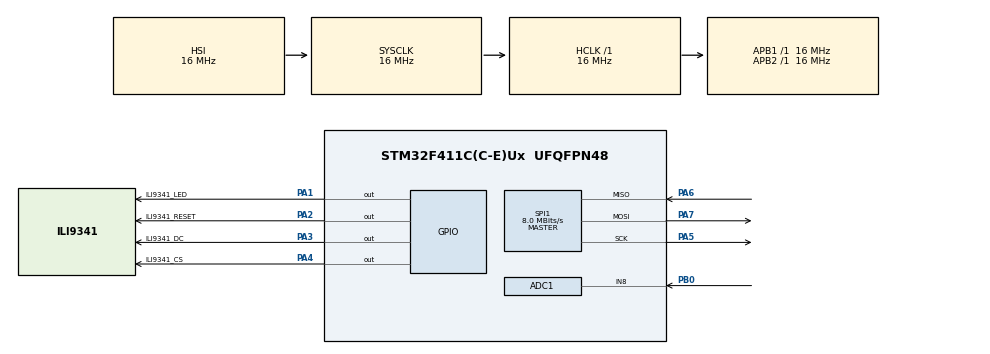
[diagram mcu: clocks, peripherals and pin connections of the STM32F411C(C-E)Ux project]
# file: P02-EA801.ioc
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ADC1.Channel-0\#ChannelRegularConversion=ADC_CHANNEL_8
ADC1.DMAContinuousRequests=ENABLE
ADC1.EnableAnalogWatchDog=false
ADC1.ExternalTrigConv=ADC_EXTERNALTRIGCONV_T2_TRGO
ADC1.InjNumberOfConversion=0
ADC1.NbrOfConversionFlag=1
ADC1.Rank-0\#ChannelRegularConversion=1
ADC1.SamplingTime-0\#ChannelRegularConversion=ADC_SAMPLETIME_3CYCLES
ADC1.master=1
Dma.ADC1.0.Direction=DMA_PERIPH_TO_MEMORY
Dma.ADC1.0.FIFOMode=DMA_FIFOMODE_DISABLE
Dma.ADC1.0.Instance=DMA2_Stream0
Dma.ADC1.0.MemDataAlignment=DMA_MDATAALIGN_HALFWORD
Dma.ADC1.0.MemInc=DMA_MINC_ENABLE
Dma.ADC1.0.Mode=DMA_CIRCULAR
Dma.ADC1.0.PeriphDataAlignment=DMA_PDATAALIGN_HALFWORD
Dma.ADC1.0.PeriphInc=DMA_PINC_DISABLE
Dma.ADC1.0.Priority=DMA_PRIORITY_VERY_HIGH
Dma.Request0=ADC1
Mcu.Family=STM32F4
Mcu.Name=STM32F411C(C-E)Ux
Mcu.Package=UFQFPN48
NVIC.ADC_IRQn=true\:0\:0\:false\:false\:true\:true\:true\:true
NVIC.DMA2_Stream0_IRQn=true\:0\:0\:false\:false\:true\:false\:true\:true
NVIC.PriorityGroup=NVIC_PRIORITYGROUP_4
PA1.GPIO_Label=ILI9341_LED
PA1.PinState=GPIO_PIN_SET
PA1.Signal=GPIO_Output
PA2.GPIO_Label=ILI9341_RESET
PA2.GPIO_Speed=GPIO_SPEED_FREQ_VERY_HIGH
PA2.Signal=GPIO_Output
PA3.GPIO_Label=ILI9341_DC
PA3.GPIO_Speed=GPIO_SPEED_FREQ_VERY_HIGH
PA3.Signal=GPIO_Output
PA4.GPIO_Label=ILI9341_CS
PA4.GPIO_Speed=GPIO_SPEED_FREQ_VERY_HIGH
PA4.Signal=GPIO_Output
PA5.Mode=Full_Duplex_Master
PA5.Signal=SPI1_SCK
PA6.Mode=Full_Duplex_Master
PA6.Signal=SPI1_MISO
PA7.Mode=Full_Duplex_Master
PA7.Signal=SPI1_MOSI
PB0.Signal=ADCx_IN8
ProjectManager.HeapSize=0x200
ProjectManager.StackSize=0x400
ProjectManager.TargetToolchain=STM32CubeIDE
RCC.AHBFreq_Value=16000000
RCC.APB1Freq_Value=16000000
RCC.APB2Freq_Value=16000000
RCC.CortexFreq_Value=16000000
RCC.HSE_VALUE=25000000
RCC.HSI_VALUE=16000000
RCC.LSE_VALUE=32768
RCC.SYSCLKFreq_VALUE=16000000
RCC.VCOOutputFreq_Value=192000000
SH.ADCx_IN8.0=ADC1_IN8,IN8
SPI1.CalculateBaudRate=8.0 MBits/s
SPI1.Direction=SPI_DIRECTION_2LINES
SPI1.Mode=SPI_MODE_MASTER
SPI1.VirtualType=VM_MASTER
TIM2.Period=9
TIM2.Prescaler=1599
TIM2.TIM_MasterOutputTrigger=TIM_TRGO_UPDATE
VP_TIM2_VS_ClockSourceINT.Mode=Internal
VP_TIM2_VS_ClockSourceITR.Mode=TriggerSource_ITR0
board=custom

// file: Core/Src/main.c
/* USER CODE BEGIN Header */
/**
  ******************************************************************************
  * @file           : main.c
  * @brief          : Main program body
  ******************************************************************************
  * @attention
  *
  * Copyright (c) 2025 STMicroelectronics.
  * All rights reserved.
  *
  * This software is licensed under terms that can be found in the LICENSE file
  * in the root directory of this software component.
  * If no LICENSE file comes with this software, it is provided AS-IS.
  *
  ******************************************************************************
  */
/* USER CODE END Header */
#include "main.h"

/* USER CODE BEGIN Includes */
#include "fonts.h"
#include <stdio.h>
#include "ili9341.h"
#include <string.h>

#include "fft.h"
#include "guitar_tuner.h"
#include "unit_vec.h"
#include "guitar_tuner_bitmap.h"
#include "arrow_bitmaps.h"
#include "tunings.h"

//typedef enum {E, A, D, G, B, e} guitar_string;

//float ideal_frequencies[] = {82.0312*2, 109.375*3, 148.437, 195.312, 246.093, 328.125 };
//float thresh[6] = {0.5, 0.7, 0.9, 1.0, 1.2, 1.2};

/* USER CODE END Includes */

ADC_HandleTypeDef hadc1;
DMA_HandleTypeDef hdma_adc1;

SPI_HandleTypeDef hspi1;

TIM_HandleTypeDef htim2;

/* USER CODE BEGIN PV */
ILI9341TypeDef display;

/* USER CODE END PV */

void SystemClock_Config(void);
static void MX_GPIO_Init(void);
static void MX_DMA_Init(void);
static void MX_SPI1_Init(void);
static void MX_ADC1_Init(void);
static void MX_TIM2_Init(void);
/* USER CODE BEGIN PFP */
static void drawAxis(ILI9341TypeDef *display);
static void clearCursor(ILI9341TypeDef *display, uint16_t pos);
static void clearTrigger(ILI9341TypeDef *display, uint16_t pos);
static void drawCursor(ILI9341TypeDef *display, uint16_t pos, char *name, uint16_t color);
static void drawTrigger(ILI9341TypeDef *display, uint16_t pos, char *name, uint16_t color);
static void drawSignal(ILI9341TypeDef *display, uint32_t *adc_time, uint16_t *adc0, uint32_t adc_length, uint16_t pixel_dirty[280][2], uint16_t cursor, uint16_t color);
static void clearSignal(ILI9341TypeDef *display, uint16_t pixel_dirty[280][2]);
static void drawSignalParam(ILI9341TypeDef *display, char *string, size_t size, uint16_t adc_max, uint16_t adc_min, uint32_t adc_period);
/* USER CODE END PFP */

/* USER CODE BEGIN 0 */

//ADC buf init
	#define ADC_BUFFER_SIZE 256
	uint16_t adc_buffer[ADC_BUFFER_SIZE];

	volatile uint16_t adc_data[3] = { 0 };
	volatile uint32_t adc0_length = 0;
	volatile uint32_t adc1_length = 0;
	volatile uint8_t  adc0_filled = 0;
	volatile uint8_t  adc1_filled = 1;
	volatile uint8_t  adc_available = 1;
	volatile uint8_t  adc_reset_cyccnt = 1;

	volatile uint16_t adc_max[2]    = {  0 };
	volatile uint16_t adc_min[2]    = { -1 };
	volatile uint32_t adc_period[2] = {  0 };
	volatile uint8_t  adc_period0_detected = 0;
	volatile uint8_t  adc_period1_detected = 0;

	uint32_t adc0_time[ADC_BUFFER_SIZE];
	uint32_t adc1_time[ADC_BUFFER_SIZE];
	uint16_t adc0[ADC_BUFFER_SIZE];
	uint16_t adc1[ADC_BUFFER_SIZE];
	uint8_t  adc_immediate = 1;

	uint32_t xlim_us = 200;
	uint32_t ylim_uV = 1000000;

	uint16_t cursor0 = 120;
	uint16_t cursor1 = 196;

	uint16_t trigger0 = 70;
	uint16_t trigger1 = 146;

	uint8_t  trigger_mode   = 0;
	uint16_t trigger0_value = 2048;
	uint16_t trigger1_value = 2048;

	uint8_t event_adc      = 0;
	uint8_t event_axis     = 1;
	uint8_t event_mode     = 1;
	uint8_t event_cursor   = 1;
	uint8_t event_trigger  = 1;
	uint8_t event_channel  = 1;
	uint8_t event_seconds  = 1;
	uint8_t event_voltage  = 1;
	uint8_t event_button0  = 0;
	uint8_t event_button1  = 0;
	uint8_t event_button2  = 0;
	uint8_t event_selector = 1;
	uint8_t event_trigger_mode = 1;
	uint8_t event_trigger0_detected = 1;
	uint8_t event_trigger1_detected = 1;

/* USER CODE END 0 */

int main(void)
{

  /* MCU Configuration--------------------------------------------------------*/

  /* Reset of all peripherals, Initializes the Flash interface and the Systick. */
  HAL_Init();

  /* Configure the system clock */
  SystemClock_Config();

  /* Initialize all configured peripherals */
  MX_GPIO_Init();
  MX_DMA_Init();
  MX_SPI1_Init();
  MX_ADC1_Init();
  MX_TIM2_Init();
  /* USER CODE BEGIN 2 */
  // Display init
  display.spi             = &hspi1;
  display.cs_gpio_port    = ILI9341_CS_GPIO_Port;
  display.dc_gpio_port    = ILI9341_DC_GPIO_Port;
  display.reset_gpio_port = ILI9341_RESET_GPIO_Port;
  display.cs_pin          = ILI9341_CS_Pin;
  display.dc_pin          = ILI9341_DC_Pin;
  display.reset_pin       = ILI9341_RESET_Pin;
  display.width           = 320;
  display.height          = 240;
  display.orientation     = ILI9341_ORIENTATION_ROTATE_RIGHT;

   ILI9341_UNSELECT(&display);
   ILI9341_Init(&display);
   char string[255];

   ILI9341_FillScreen(&display, ILI9341_BLUE);
   snprintf(string, 255, "Guitar Tuner");
   ILI9341_WriteString(&display, 60, 18 * 0, string, Font_16x26, ILI9341_GREEN, ILI9341_BLUE);
   drawAxis(&display);
   HAL_Delay(1000);

   // Start the timer before starting ADC
   HAL_TIM_Base_Start(&htim2);

   // Start ADC with DMA
   HAL_ADC_Start_DMA(&hadc1, (uint32_t*)adc_buffer, ADC_BUFFER_SIZE);

  /* USER CODE END 2 */

  /* Infinite loop */
  while (1)
  {

  }
}

void SystemClock_Config(void)
{
  RCC_OscInitTypeDef RCC_OscInitStruct = {0};
  RCC_ClkInitTypeDef RCC_ClkInitStruct = {0};

  /** Configure the main internal regulator output voltage
  */
  __HAL_RCC_PWR_CLK_ENABLE();
  __HAL_PWR_VOLTAGESCALING_CONFIG(PWR_REGULATOR_VOLTAGE_SCALE1);

  /** Initializes the RCC Oscillators according to the specified parameters
  * in the RCC_OscInitTypeDef structure.
  */
  RCC_OscInitStruct.OscillatorType = RCC_OSCILLATORTYPE_HSI;
  RCC_OscInitStruct.HSIState = RCC_HSI_ON;
  RCC_OscInitStruct.HSICalibrationValue = RCC_HSICALIBRATION_DEFAULT;
  RCC_OscInitStruct.PLL.PLLState = RCC_PLL_NONE;
  if (HAL_RCC_OscConfig(&RCC_OscInitStruct) != HAL_OK)
  {
    Error_Handler();
  }

  /** Initializes the CPU, AHB and APB buses clocks
  */
  RCC_ClkInitStruct.ClockType = RCC_CLOCKTYPE_HCLK|RCC_CLOCKTYPE_SYSCLK
                              |RCC_CLOCKTYPE_PCLK1|RCC_CLOCKTYPE_PCLK2;
  RCC_ClkInitStruct.SYSCLKSource = RCC_SYSCLKSOURCE_HSI;
  RCC_ClkInitStruct.AHBCLKDivider = RCC_SYSCLK_DIV1;
  RCC_ClkInitStruct.APB1CLKDivider = RCC_HCLK_DIV1;
  RCC_ClkInitStruct.APB2CLKDivider = RCC_HCLK_DIV1;

  if (HAL_RCC_ClockConfig(&RCC_ClkInitStruct, FLASH_LATENCY_0) != HAL_OK)
  {
    Error_Handler();
  }
}

static void MX_ADC1_Init(void)
{

  ADC_ChannelConfTypeDef sConfig = {0};

  /** Configure the global features of the ADC (Clock, Resolution, Data Alignment and number of conversion)
  */
  hadc1.Instance = ADC1;
  hadc1.Init.ClockPrescaler = ADC_CLOCK_SYNC_PCLK_DIV2;
  hadc1.Init.Resolution = ADC_RESOLUTION_12B;
  hadc1.Init.ScanConvMode = DISABLE;
  hadc1.Init.ContinuousConvMode = DISABLE;
  hadc1.Init.DiscontinuousConvMode = DISABLE;
  hadc1.Init.ExternalTrigConvEdge = ADC_EXTERNALTRIGCONVEDGE_RISING;
  hadc1.Init.ExternalTrigConv = ADC_EXTERNALTRIGCONV_T2_TRGO;
  hadc1.Init.DataAlign = ADC_DATAALIGN_RIGHT;
  hadc1.Init.NbrOfConversion = 1;
  hadc1.Init.DMAContinuousRequests = ENABLE;
  hadc1.Init.EOCSelection = ADC_EOC_SINGLE_CONV;
  if (HAL_ADC_Init(&hadc1) != HAL_OK)
  {
    Error_Handler();
  }

  /** Configure for the selected ADC regular channel its corresponding rank in the sequencer and its sample time.
  */
  sConfig.Channel = ADC_CHANNEL_8;
  sConfig.Rank = 1;
  sConfig.SamplingTime = ADC_SAMPLETIME_3CYCLES;
  if (HAL_ADC_ConfigChannel(&hadc1, &sConfig) != HAL_OK)
  {
    Error_Handler();
  }

}

static void MX_SPI1_Init(void)
{

  /* SPI1 parameter configuration*/
  hspi1.Instance = SPI1;
  hspi1.Init.Mode = SPI_MODE_MASTER;
  hspi1.Init.Direction = SPI_DIRECTION_2LINES;
  hspi1.Init.DataSize = SPI_DATASIZE_8BIT;
  hspi1.Init.CLKPolarity = SPI_POLARITY_LOW;
  hspi1.Init.CLKPhase = SPI_PHASE_1EDGE;
  hspi1.Init.NSS = SPI_NSS_SOFT;
  hspi1.Init.BaudRatePrescaler = SPI_BAUDRATEPRESCALER_2;
  hspi1.Init.FirstBit = SPI_FIRSTBIT_MSB;
  hspi1.Init.TIMode = SPI_TIMODE_DISABLE;
  hspi1.Init.CRCCalculation = SPI_CRCCALCULATION_DISABLE;
  hspi1.Init.CRCPolynomial = 10;
  if (HAL_SPI_Init(&hspi1) != HAL_OK)
  {
    Error_Handler();
  }

}

static void MX_TIM2_Init(void)
{

  TIM_ClockConfigTypeDef sClockSourceConfig = {0};
  TIM_SlaveConfigTypeDef sSlaveConfig = {0};
  TIM_MasterConfigTypeDef sMasterConfig = {0};

  htim2.Instance = TIM2;
  htim2.Init.Prescaler = 1599;
  htim2.Init.CounterMode = TIM_COUNTERMODE_UP;
  htim2.Init.Period = 9;
  htim2.Init.ClockDivision = TIM_CLOCKDIVISION_DIV1;
  htim2.Init.AutoReloadPreload = TIM_AUTORELOAD_PRELOAD_DISABLE;
  if (HAL_TIM_Base_Init(&htim2) != HAL_OK)
  {
    Error_Handler();
  }
  sClockSourceConfig.ClockSource = TIM_CLOCKSOURCE_INTERNAL;
  if (HAL_TIM_ConfigClockSource(&htim2, &sClockSourceConfig) != HAL_OK)
  {
    Error_Handler();
  }
  sSlaveConfig.SlaveMode = TIM_SLAVEMODE_DISABLE;
  sSlaveConfig.InputTrigger = TIM_TS_ITR0;
  if (HAL_TIM_SlaveConfigSynchro(&htim2, &sSlaveConfig) != HAL_OK)
  {
    Error_Handler();
  }
  sMasterConfig.MasterOutputTrigger = TIM_TRGO_UPDATE;
  sMasterConfig.MasterSlaveMode = TIM_MASTERSLAVEMODE_DISABLE;
  if (HAL_TIMEx_MasterConfigSynchronization(&htim2, &sMasterConfig) != HAL_OK)
  {
    Error_Handler();
  }

}

static void MX_DMA_Init(void)
{

  /* DMA controller clock enable */
  __HAL_RCC_DMA2_CLK_ENABLE();

  /* DMA interrupt init */
  /* DMA2_Stream0_IRQn interrupt configuration */
  HAL_NVIC_SetPriority(DMA2_Stream0_IRQn, 0, 0);
  HAL_NVIC_EnableIRQ(DMA2_Stream0_IRQn);

}

static void MX_GPIO_Init(void)
{
  GPIO_InitTypeDef GPIO_InitStruct = {0};

  /* GPIO Ports Clock Enable */
  __HAL_RCC_GPIOA_CLK_ENABLE();
  __HAL_RCC_GPIOB_CLK_ENABLE();

  /*Configure GPIO pin Output Level */
  HAL_GPIO_WritePin(ILI9341_LED_GPIO_Port, ILI9341_LED_Pin, GPIO_PIN_SET);

  /*Configure GPIO pin Output Level */
  HAL_GPIO_WritePin(GPIOA, ILI9341_RESET_Pin|ILI9341_DC_Pin|ILI9341_CS_Pin, GPIO_PIN_RESET);

  /*Configure GPIO pin : ILI9341_LED_Pin */
  GPIO_InitStruct.Pin = ILI9341_LED_Pin;
  GPIO_InitStruct.Mode = GPIO_MODE_OUTPUT_PP;
  GPIO_InitStruct.Pull = GPIO_NOPULL;
  GPIO_InitStruct.Speed = GPIO_SPEED_FREQ_LOW;
  HAL_GPIO_Init(ILI9341_LED_GPIO_Port, &GPIO_InitStruct);

  /*Configure GPIO pins : ILI9341_RESET_Pin ILI9341_DC_Pin ILI9341_CS_Pin */
  GPIO_InitStruct.Pin = ILI9341_RESET_Pin|ILI9341_DC_Pin|ILI9341_CS_Pin;
  GPIO_InitStruct.Mode = GPIO_MODE_OUTPUT_PP;
  GPIO_InitStruct.Pull = GPIO_NOPULL;
  GPIO_InitStruct.Speed = GPIO_SPEED_FREQ_VERY_HIGH;
  HAL_GPIO_Init(GPIOA, &GPIO_InitStruct);

}

/* USER CODE BEGIN 4 */

void HAL_ADC_ConvCpltCallback(ADC_HandleTypeDef* hadc) {
	char string[255];
	char str[10];
	//snprintf(string, 255, "A");
	//sprintf(str, "%d", adc_buffer[0]);
	//ILI9341_WriteString(&display, 60, 18 * 5, str, Font_16x26, ILI9341_GREEN, ILI9341_BLUE);

	//fft
    float top_freq;
    float mag[ADC_BUFFER_SIZE];
    float freq[ADC_BUFFER_SIZE];
    complex fft_samples[ADC_BUFFER_SIZE], temp[ADC_BUFFER_SIZE];

    int j=0;
	for(j=0; j<ADC_BUFFER_SIZE; j++){
		fft_samples[j].Re=adc_buffer[j];
		fft_samples[j].Im=0;
	}

		fft(fft_samples, ADC_BUFFER_SIZE, temp);
    	get_freq_bins(freq, ADC_BUFFER_SIZE, 0.001);
		get_magnitudes(mag, fft_samples, ADC_BUFFER_SIZE);
		filter_frequencies(mag, freq, 0.0, 4.0, ADC_BUFFER_SIZE);
		filter_frequencies(mag, freq, 60.0, 5.0, ADC_BUFFER_SIZE);

		// Dot product of unit_vecs with signal fft
		#define E 0
		#define A 1
		#define D 2
		#define G 3
		#define B 4
		#define e 5
		int i;
		float dp[6] = {0};
		for(i=0; i<UNIT_VEC_LENGTH; i++)
		{
		float f = eigen_frequencies[i];
		int index = freq_to_index(f, 1000, ADC_BUFFER_SIZE);
		dp[E] += E_fft_unit_vec[i] * mag[index];
		dp[A] += A_fft_unit_vec[i] * mag[index];
		dp[D] += D_fft_unit_vec[i] * mag[index];
		dp[G] += G_fft_unit_vec[i] * mag[index];
		dp[B] += B_fft_unit_vec[i] * mag[index];
		dp[e] += e_fft_unit_vec[i] * mag[index];
		}

		// find max string
		float max_val = 0.0;
		int max_index;
		char string_char[10];

		for(i=0; i<6; i++){
			if(dp[i] > max_val){
				max_val = dp[i];
				max_index = i;
			}
		}

	    switch (max_index) {
	        case 0:
	        	snprintf(string_char, 10, "E");  // 6ª corda (mais grossa)
	            break;
	        case 1:
	        	snprintf(string_char, 10, "A");  // 5ª corda
	            break;
	        case 2:
	        	snprintf(string_char, 10, "D");  // 4ª corda
	            break;
	        case 3:
	        	snprintf(string_char, 10, "G");  // 3ª corda
	            break;
	        case 4:
	        	snprintf(string_char, 10, "B");  // 2ª corda
	            break;
	        case 5:
	        	snprintf(string_char, 10, "e");  // 1ª corda (mais fina)
	            break;
	    }
		ILI9341_WriteString(&display, 60, 18 * 5, string_char, Font_16x26, ILI9341_GREEN, ILI9341_BLUE);
}

static void drawSignal(ILI9341TypeDef *display, uint32_t *adc_time, uint16_t *adc0, uint32_t adc_length, uint16_t pixel_dirty[280][2], uint16_t cursor, uint16_t color)
{
	uint16_t point[280];
	for (uint16_t i = 0; i < 280; i++)
		point[i] = 0;

	for (uint16_t i = 0; i < adc_length; i++) {

		float uV = (float)(adc0[i]) * 3300000.0f / 4096.0f;
		uint16_t x = (float)(adc_time[i]) * 280.0f / (float)(12.0f * xlim_us);
		uint16_t y = cursor - ((uV / (float)(ylim_uV)) * 200.0f / 8.0f);

		if (x < 0)
			x = 0;

		if (x > 274)
			x = 274;

		if (y < 21)
			y = 21;

		if (y > 219)
			y = 219;

		point[x] += (float)(y - point[x]) * 1.0f;
	}

	uint16_t pixel[280][2];
	for (uint16_t i = 0; i < 280; i++) {
		pixel[i][0] = 220;
		pixel[i][1] = 20;
	}

	for (uint16_t i = 1; i <= 279; i++) {

		if (point[i] == 0)
			continue;

		int16_t x1 = i;
		int16_t x0 = x1 - 1;

		for (; x0 >= 0; x0--) {
			if (point[x0] != 0)
				break;
		}

		if (x0 == 0 && point[x0] == 0)
			return;

		int16_t y0 = point[x0];
		int16_t y1 = point[x1];

		int16_t dx = (x1 - x0) > 0 ? (x1 - x0) : -(x1 - x0);
		int16_t sx = x0 < x1 ? 1 : -1;
		int16_t dy = (y1 - y0) > 0 ? -(y1 - y0) : (y1 - y0);
		int16_t sy = y0 < y1 ? 1 : -1;
		int16_t error = dx + dy;

		while (1) {

			if (pixel[x0][0] > y0)
				pixel[x0][0] = y0;

			if (pixel[x0][1] < y0)
				pixel[x0][1] = y0;

			if (x0 == x1 && y0 == y1)
				break;

			int16_t e2 = 2 * error;

			if (e2 >= dy) {
				if (x0 == x1)
					break;

				error = error + dy;
				x0 = x0 + sx;
			}

			if (e2 <= dx) {
				if (y0 == y1)
					break;

				error = error + dx;
				y0 = y0 + sy;
			}
		}
	}

	for (uint16_t i = 1; i <= 279; i++) {
		uint16_t min = pixel[i][0] < pixel_dirty[i][0] ? pixel[i][0] : pixel_dirty[i][0];
		uint16_t max = pixel[i][1] > pixel_dirty[i][1] ? pixel[i][1] : pixel_dirty[i][1];

		for (uint16_t j = min; j <= max; j++) {
			uint8_t draw = 0;
			if (j >= pixel[i][0] && j <= pixel[i][1])
				draw = 1;

			uint8_t clear = 0;
			if (j >= pixel_dirty[i][0] && j <= pixel_dirty[i][1])
				clear = 1;

			if (draw && !clear && j > 21)
				ILI9341_DrawPixel(display, i + 20, j, color);

			if (!draw && clear) {
				if (((i % 25) == 0 && (j % 2) == 0) || ((i % 2) == 0 && ((j - 20) % 25) == 0))
					ILI9341_DrawPixel(display, i + 20, j,  ILI9341_GRAY);
				else
					ILI9341_DrawPixel(display, i + 20, j, ILI9341_BLACK);
			}
		}

		pixel_dirty[i][0] = pixel[i][0];
		pixel_dirty[i][1] = pixel[i][1];
	}
}

static void drawAxis(ILI9341TypeDef *display)
{
	for (uint16_t i = 0; i < 9; i++) {
		uint16_t y = 20 + 25 * i;

		if (i == 0 || i == 8) {
			ILI9341_FillRectangle(display, 20, y, 276, 1, ILI9341_WHITE);
			continue;
		}

		for (uint16_t j = 0; j < 276; j += 2)
			ILI9341_DrawPixel(display, 20 + j, y, ILI9341_GRAY);
	}

	for (uint16_t i = 0; i < 12; i++) {
		uint16_t x = 20 + 25 * i;

		if (i == 0 || i == 11) {
			ILI9341_FillRectangle(display, x, 20, 1, 200, ILI9341_WHITE);
			continue;
		}

		for (uint16_t j = 0; j < 200; j += 2)
			ILI9341_DrawPixel(display, x, 20 + j, ILI9341_GRAY);
	}
}

/* USER CODE END 4 */

void Error_Handler(void)
{
  __disable_irq();
  while (1)
  {
  }
}
